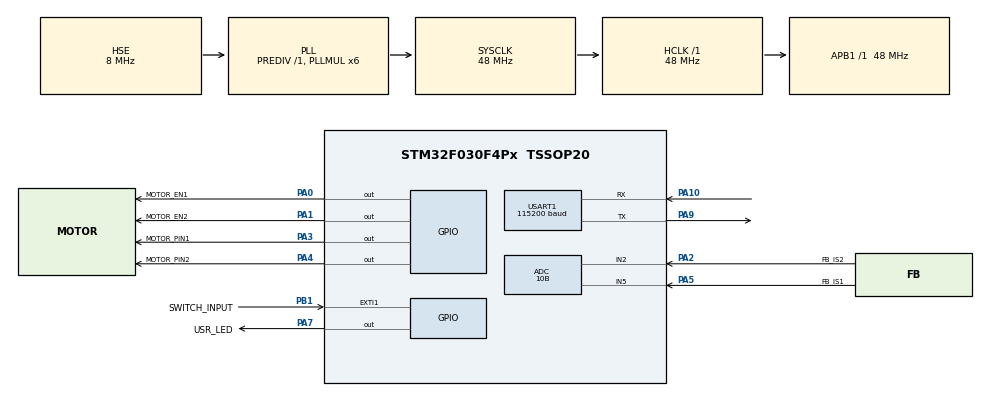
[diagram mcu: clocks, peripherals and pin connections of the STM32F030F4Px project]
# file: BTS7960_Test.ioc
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ADC.ContinuousConvMode=ENABLE
ADC.Resolution=ADC_RESOLUTION_10B
ADC.SamplingTime=ADC_SAMPLETIME_41CYCLES_5
Mcu.Family=STM32F0
Mcu.Name=STM32F030F4Px
Mcu.Package=TSSOP20
NVIC.EXTI0_1_IRQn=true\:0\:0\:false\:false\:true\:true\:true
PA0.GPIO_Label=MOTOR_EN1
PA0.GPIO_PuPd=GPIO_PULLDOWN
PA0.Signal=GPIO_Output
PA1.GPIO_Label=MOTOR_EN2
PA1.GPIO_PuPd=GPIO_PULLDOWN
PA1.Signal=GPIO_Output
PA10.Mode=Asynchronous
PA10.Signal=USART1_RX
PA13.Mode=Serial_Wire
PA13.Signal=SYS_SWDIO
PA14.Mode=Serial_Wire
PA14.Signal=SYS_SWCLK
PA2.GPIO_Label=FB_IS2
PA2.Mode=IN2
PA2.Signal=ADC_IN2
PA3.GPIO_Label=MOTOR_PIN1
PA3.GPIO_PuPd=GPIO_PULLDOWN
PA3.Signal=GPIO_Output
PA4.GPIO_Label=MOTOR_PIN2
PA4.GPIO_PuPd=GPIO_PULLDOWN
PA4.Signal=GPIO_Output
PA5.GPIO_Label=FB_IS1
PA5.Mode=IN5
PA5.Signal=ADC_IN5
PA7.GPIO_Label=USR_LED
PA7.Signal=GPIO_Output
PA9.Mode=Asynchronous
PA9.Signal=USART1_TX
PB1.GPIO_Label=SWITCH_INPUT
PB1.GPIO_ModeDefaultEXTI=GPIO_MODE_IT_RISING_FALLING
PB1.Signal=GPXTI1
PF0-OSC_IN.Mode=HSE-External-Oscillator
PF0-OSC_IN.Signal=RCC_OSC_IN
PF1-OSC_OUT.Mode=HSE-External-Oscillator
PF1-OSC_OUT.Signal=RCC_OSC_OUT
ProjectManager.HeapSize=0x200
ProjectManager.StackSize=0x400
ProjectManager.TargetToolchain=STM32CubeIDE
RCC.AHBFreq_Value=48000000
RCC.APB1Freq_Value=48000000
RCC.APB1TimFreq_Value=48000000
RCC.HCLKFreq_Value=48000000
RCC.PLLMUL=RCC_PLL_MUL6
RCC.PLLSourceVirtual=RCC_PLLSOURCE_HSE
RCC.SYSCLKFreq_VALUE=48000000
RCC.SYSCLKSource=RCC_SYSCLKSOURCE_PLLCLK
USART1.BaudRate=115200
USART1.VirtualMode-Asynchronous=VM_ASYNC
board=custom

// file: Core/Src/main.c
/* USER CODE BEGIN Header */
/**
 ******************************************************************************
 * @file           : main.c
 * @brief          : Main program body
 ******************************************************************************
 * @attention
 *
 * <h2><center>&copy; Copyright (c) 2022 STMicroelectronics.
 * All rights reserved.</center></h2>
 *
 * This software component is licensed by ST under BSD 3-Clause license,
 * the "License"; You may not use this file except in compliance with the
 * License. You may obtain a copy of the License at:
 *                        opensource.org/licenses/BSD-3-Clause
 *
 ******************************************************************************
 */
/* USER CODE END Header */

#include "main.h"
#include "adc.h"
#include "usart.h"
#include "gpio.h"

/* USER CODE BEGIN Includes */
#include <stdio.h>
#include <string.h>
/* USER CODE END Includes */

/* USER CODE BEGIN PTD */
#ifdef __GNUC__
/* With GCC, small printf (option LD Linker->Libraries->Small printf
     set to 'Yes') calls __io_putchar() */
#define PUTCHAR_PROTOTYPE int __io_putchar(int ch)
#else
#define PUTCHAR_PROTOTYPE int fputc(int ch, FILE *f)
#endif /* __GNUC__ */

typedef enum
{
  FORWARD,
  REWIND,
  STOP,
  TURNOFF,
  M_ENABLE
}MOTORMODE;

ADC_ChannelConfTypeDef sConfig = {0};
/* USER CODE END PTD */

/* USER CODE BEGIN PM */
#define DEBUG	 1		//Change here, 1 for Test code/ 0 for Production code
#define HIGH	 1
#define LOW	 0
/* USER CODE END PM */

/* USER CODE BEGIN PV */
volatile uint8_t switchPressed = LOW;
volatile char txBuffer[30];
volatile MOTORMODE currentDir = TURNOFF, previousDir = TURNOFF;
/* USER CODE END PV */

void SystemClock_Config(void);
/* USER CODE BEGIN PFP */
void ControlMotor(MOTORMODE);
;
/* USER CODE END PFP */

int main(void)
{
  /* USER CODE BEGIN 1 */
  volatile uint32_t fbTotalFwd, fbTotalRwd;
  volatile uint16_t fbAvgFwd, fbAvgRwd;
  volatile uint32_t fbSamples;
  volatile uint16_t fbInstFwd, fbInstRwd;
  volatile uint8_t adcCutoff;
  const uint8_t adcInterval = 70;
  const uint8_t adcOffset = 10; 	// Additional Offset While Motor rewinds
  volatile unsigned long currentMillis, previousMillisADCTime, previousMillisUSARTTime;

#if DEBUG
  volatile uint8_t adcThresh = 200;
#else
  volatile uint8_t adcThresh = 30;
#endif

  /* USER CODE END 1 */

  /* MCU Configuration--------------------------------------------------------*/

  /* Reset of all peripherals, Initializes the Flash interface and the Systick. */
  HAL_Init();

  /* Configure the system clock */
  SystemClock_Config();

  /* Initialize all configured peripherals */
  MX_GPIO_Init();
  MX_ADC_Init();
  MX_USART1_UART_Init();
  /* USER CODE BEGIN 2 */
  sConfig.Rank = 1;
  sConfig.SamplingTime = ADC_SAMPLETIME_13CYCLES_5;
  ControlMotor(M_ENABLE);
  sprintf(txBuffer, "DoorStep Controller: V4.1\r\n");
  HAL_UART_Transmit(&huart1, (uint8_t*)txBuffer, strlen(txBuffer), 10);
  HAL_Delay(5000);
  /* USER CODE END 2 */

  /* Infinite loop */
  while (1)
    {

    /* USER CODE BEGIN 3 */
      currentMillis = HAL_GetTick();

      ////////////// Feedback Sampling Routine //////////////
      sConfig.Channel = ADC_CHANNEL_5;
      HAL_ADC_ConfigChannel(&hadc, &sConfig);
      HAL_ADC_Start(&hadc);
      if (HAL_ADC_PollForConversion(&hadc, 10) == HAL_OK)
	{
	  fbInstFwd = HAL_ADC_GetValue(&hadc);
	}

      sConfig.Channel = ADC_CHANNEL_2;
      HAL_ADC_ConfigChannel(&hadc, &sConfig);
      HAL_ADC_Start(&hadc);
      if (HAL_ADC_PollForConversion(&hadc, 10) == HAL_OK)
	{
	  fbInstRwd = HAL_ADC_GetValue(&hadc);
	}
      HAL_ADC_Stop(&hadc);
      fbTotalFwd += fbInstFwd;
      fbTotalRwd += fbInstRwd;
      fbSamples++;
      if(currentMillis - previousMillisADCTime > adcInterval)
	{
	  previousMillisADCTime = currentMillis;
	  fbAvgFwd = (fbTotalFwd/fbSamples);
	  fbAvgRwd = (fbTotalRwd/fbSamples);
	  fbTotalFwd = 0;
	  fbTotalRwd = 0;
	  fbSamples = 0;
	}

      ////////////// Feedback Threshold Checking Routine //////////////
      if ((fbAvgFwd > adcThresh) || (fbAvgRwd > (adcThresh + adcOffset)))
	{
	  ControlMotor(STOP);
	  previousDir = currentDir;
	  currentDir = STOP;
	  HAL_GPIO_WritePin(GPIOA, USR_LED_Pin, GPIO_PIN_RESET);
	}

      if(currentMillis - previousMillisUSARTTime > 500)
	{
	  previousMillisUSARTTime = currentMillis;
	  sprintf(txBuffer, "FWD: %d RWD: %d\r\n", fbAvgFwd, fbAvgRwd);
	  HAL_UART_Transmit(&huart1, (uint8_t*)txBuffer, strlen(txBuffer), 10);
	}

      ////////////// Switch Press Routine //////////////
      if(switchPressed == HIGH)
	{
	  HAL_Delay(200);		//Switch Debouncing Delay
	  switchPressed = LOW;
	  if(HAL_GPIO_ReadPin(SWITCH_INPUT_GPIO_Port, SWITCH_INPUT_Pin) == HIGH)
	    {
	      if (currentDir != FORWARD)
		{
		  currentDir = FORWARD;
		  ControlMotor(FORWARD);
		}
	    }
	  else
	    {
	      if (currentDir != REWIND)
		{
		  currentDir = REWIND;
		  ControlMotor(REWIND);
		}
	    }
	}
    }
  /* USER CODE END 3 */
}

void SystemClock_Config(void)
{
  RCC_OscInitTypeDef RCC_OscInitStruct = {0};
  RCC_ClkInitTypeDef RCC_ClkInitStruct = {0};
  RCC_PeriphCLKInitTypeDef PeriphClkInit = {0};

  /** Initializes the CPU, AHB and APB busses clocks
  */
  RCC_OscInitStruct.OscillatorType = RCC_OSCILLATORTYPE_HSI14|RCC_OSCILLATORTYPE_HSE;
  RCC_OscInitStruct.HSEState = RCC_HSE_ON;
  RCC_OscInitStruct.HSI14State = RCC_HSI14_ON;
  RCC_OscInitStruct.HSI14CalibrationValue = 16;
  RCC_OscInitStruct.PLL.PLLState = RCC_PLL_ON;
  RCC_OscInitStruct.PLL.PLLSource = RCC_PLLSOURCE_HSE;
  RCC_OscInitStruct.PLL.PLLMUL = RCC_PLL_MUL6;
  RCC_OscInitStruct.PLL.PREDIV = RCC_PREDIV_DIV1;
  if (HAL_RCC_OscConfig(&RCC_OscInitStruct) != HAL_OK)
  {
    Error_Handler();
  }
  /** Initializes the CPU, AHB and APB busses clocks
  */
  RCC_ClkInitStruct.ClockType = RCC_CLOCKTYPE_HCLK|RCC_CLOCKTYPE_SYSCLK
                              |RCC_CLOCKTYPE_PCLK1;
  RCC_ClkInitStruct.SYSCLKSource = RCC_SYSCLKSOURCE_PLLCLK;
  RCC_ClkInitStruct.AHBCLKDivider = RCC_SYSCLK_DIV1;
  RCC_ClkInitStruct.APB1CLKDivider = RCC_HCLK_DIV1;

  if (HAL_RCC_ClockConfig(&RCC_ClkInitStruct, FLASH_LATENCY_1) != HAL_OK)
  {
    Error_Handler();
  }
  PeriphClkInit.PeriphClockSelection = RCC_PERIPHCLK_USART1;
  PeriphClkInit.Usart1ClockSelection = RCC_USART1CLKSOURCE_PCLK1;
  if (HAL_RCCEx_PeriphCLKConfig(&PeriphClkInit) != HAL_OK)
  {
    Error_Handler();
  }
}

/* USER CODE BEGIN 4 */

//////////// INTR handling in stm32f0xx_it.c ////////////
void HAL_GPIO_EXTI_Callback(uint16_t GPIO_Pin)
{
  //	if(GPIO_Pin == SWITCH_INPUT_Pin)
  //	{
  switchPressed = HIGH;
  //	}
}

void ControlMotor(MOTORMODE direction)
{
  if (direction == FORWARD)		// Turn Motor Forward
    {
      HAL_GPIO_WritePin(GPIOA, MOTOR_PIN1_Pin|MOTOR_PIN2_Pin, GPIO_PIN_RESET);
      HAL_Delay(100);
      HAL_GPIO_WritePin(GPIOA, MOTOR_PIN1_Pin|USR_LED_Pin, GPIO_PIN_SET);
    }
  else if (direction == REWIND)		// Turn Motor Backward
    {
      HAL_GPIO_WritePin(GPIOA, MOTOR_PIN1_Pin|MOTOR_PIN2_Pin, GPIO_PIN_RESET);
      HAL_Delay(100);
      HAL_GPIO_WritePin(GPIOA, MOTOR_PIN2_Pin|USR_LED_Pin, GPIO_PIN_SET);
    }
  else if (direction == STOP)		// Turn Off Motor
    {
      HAL_GPIO_WritePin(GPIOA, MOTOR_PIN1_Pin|MOTOR_PIN2_Pin, GPIO_PIN_RESET);
    }
  else if (direction == TURNOFF)	//Shut Down Motor
    {
      HAL_GPIO_WritePin(GPIOA, MOTOR_EN1_Pin|MOTOR_EN2_Pin|MOTOR_PIN1_Pin|MOTOR_PIN2_Pin, GPIO_PIN_RESET);
    }
  else if (direction == M_ENABLE)		//Enable Motor
    {
      HAL_GPIO_WritePin(GPIOA, MOTOR_EN1_Pin|MOTOR_EN2_Pin, GPIO_PIN_SET);
    }
}

/* USER CODE END 4 */

void Error_Handler(void)
{
}

/************************ (C) COPYRIGHT STMicroelectronics *****END OF FILE****/
